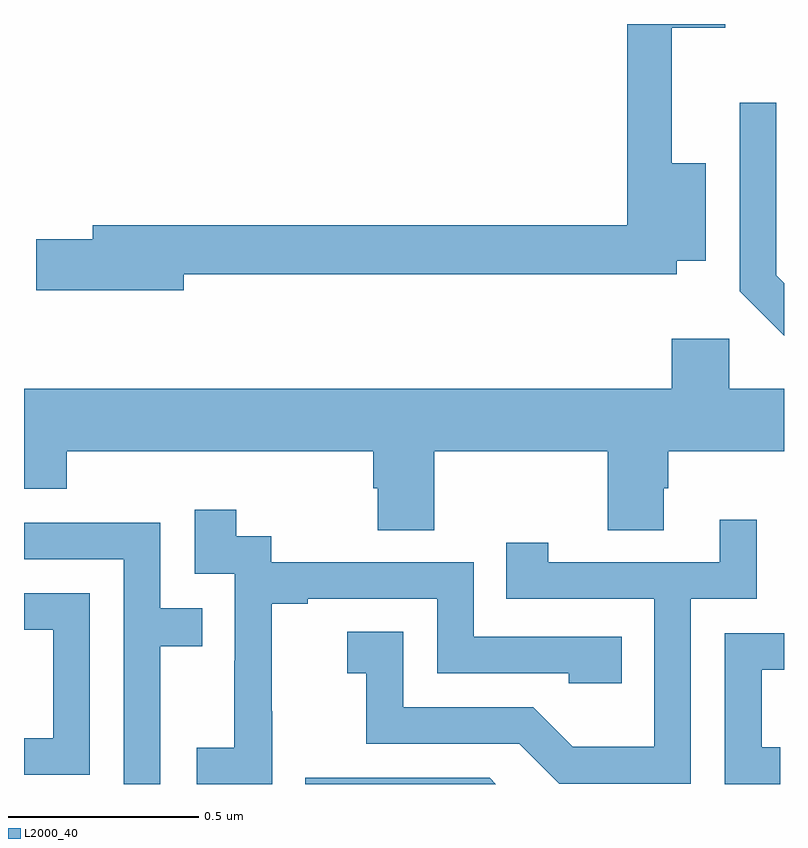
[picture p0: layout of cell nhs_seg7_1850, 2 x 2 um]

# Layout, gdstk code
import gdstk
lib = gdstk.Library(unit=1e-6, precision=1e-09)
def P(c, l, *ps):  # polygons
    for p in ps: c.add(gdstk.Polygon(p, *l))
L2000_40 = (2000, 40)

nhs_seg7_1850 = lib.new_cell('nhs_seg7_1850')
P(nhs_seg7_1850, L2000_40, [(136.42,1074.342),(137.718,1074.342),(137.718,1074.377),(137.794,1074.377),(137.794,1074.634),(137.705,1074.634),(137.705,1074.99),(137.845,1074.99),(137.845,1075),(137.587,1075),(137.587,1074.47),(136.181,1074.47),(136.181,1074.434),(136.032,1074.434),(136.032,1074.299),(136.42,1074.299)],
  [(138,1074.318),(137.979,1074.339),(137.979,1074.793),(137.883,1074.793),(137.883,1074.297),(138,1074.18)],
  [(137.079,1073.876),(137.536,1073.876),(137.536,1073.668),(137.683,1073.668),(137.683,1073.778),(137.696,1073.778),(137.696,1073.876),(138,1073.876),(138,1074.04),(137.856,1074.04),(137.856,1074.172),(137.705,1074.172),(137.705,1074.04),(136,1074.04),(136,1073.777),(136.112,1073.777),(136.112,1073.876),(136.919,1073.876),(136.919,1073.778),(136.931,1073.778),(136.931,1073.668),(137.079,1073.668)],
  [(136.653,1073.191),(136.652,1073.191),(136.652,1073.475),(136.747,1073.475),(136.747,1073.487),(137.088,1073.487),(137.088,1073.292),(137.433,1073.292),(137.433,1073.265),(137.573,1073.265),(137.573,1073.388),(137.184,1073.388),(137.184,1073.583),(136.65,1073.583),(136.65,1073.652),(136.558,1073.652),(136.558,1073.722),(136.449,1073.722),(136.449,1073.553),(136.554,1073.553),(136.554,1073.324),(136.553,1073.324),(136.553,1073.095),(136.455,1073.095),(136.455,1073),(136.653,1073)],
  [(137.754,1073.487),(137.928,1073.487),(137.928,1073.695),(137.831,1073.695),(137.831,1073.583),(137.38,1073.583),(137.38,1073.635),(137.269,1073.635),(137.269,1073.487),(137.658,1073.487),(137.658,1073.098),(137.444,1073.098),(137.34,1073.202),(136.998,1073.202),(136.998,1073.401),(136.851,1073.401),(136.851,1073.291),(136.9,1073.291),(136.9,1073.106),(137.303,1073.106),(137.408,1073.001),(137.754,1073.001)],
  [(136.359,1073.362),(136.469,1073.362),(136.469,1073.463),(136.359,1073.463),(136.359,1073.688),(136,1073.688),(136,1073.592),(136.263,1073.592),(136.263,1073),(136.359,1073)],
  [(136.173,1073.502),(136,1073.502),(136,1073.406),(136.077,1073.406),(136.077,1073.121),(136,1073.121),(136,1073.025),(136.173,1073.025)],
  [(137.99,1073.097),(137.941,1073.097),(137.941,1073.301),(138,1073.301),(138,1073.397),(137.844,1073.397),(137.844,1073),(137.99,1073)],
  [(137.226,1073.016),(136.74,1073.016),(136.74,1073),(137.242,1073)])

lib.write_gds('nhs_seg7_1850.gds')
